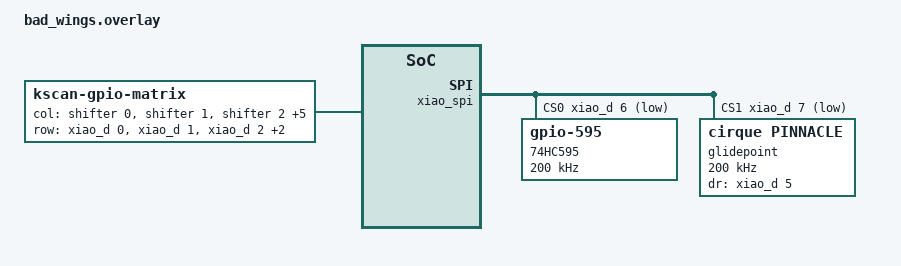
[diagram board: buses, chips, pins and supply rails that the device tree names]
#include "bad_wings.dtsi"

&xiao_serial { status = "disabled"; };

&xiao_spi {
    status = "okay";
    cs-gpios = <&xiao_d 6 GPIO_ACTIVE_LOW>, <&xiao_d 7 GPIO_ACTIVE_LOW>;
    shifter: 595@0 {
        compatible = "zmk,gpio-595";
        status = "okay";
        gpio-controller;
        spi-max-frequency = <200000>;
        reg = <0>;
        label = "74HC595";
        #gpio-cells = <2>;
        ngpios = <8>;
    };

    glidepoint: glidepoint@1 {
        compatible = "cirque,pinnacle";
        spi-max-frequency = <200000>;
        reg = <1>;
        status = "okay";
        dr-gpios = <&xiao_d 5 (GPIO_ACTIVE_HIGH)>;

        sensitivity = "4x";
        sleep;
        no-taps;
        };
};

/ {
  glidepoint_listener {
    compatible = "zmk,input-listener";
    device = <&glidepoint>;

    xy-swap;
    y-invert;
    x-invert;
  };
};


/ {
    kscan0: kscan_0 {
        compatible = "zmk,kscan-gpio-matrix";
        label = "KSCAN";
        diode-direction = "col2row";
        wakeup-source;

        col-gpios
            = <&shifter 0 GPIO_ACTIVE_HIGH>
            , <&shifter 1 GPIO_ACTIVE_HIGH>
            , <&shifter 2 GPIO_ACTIVE_HIGH>
            , <&shifter 3 GPIO_ACTIVE_HIGH>
            , <&shifter 4 GPIO_ACTIVE_HIGH>
            , <&shifter 5 GPIO_ACTIVE_HIGH>
            , <&shifter 6 GPIO_ACTIVE_HIGH>
            , <&shifter 7 GPIO_ACTIVE_HIGH>
            ;

        row-gpios
            = <&xiao_d 0 (GPIO_ACTIVE_HIGH | GPIO_PULL_DOWN)>
            , <&xiao_d 1 (GPIO_ACTIVE_HIGH | GPIO_PULL_DOWN)>
            , <&xiao_d 2 (GPIO_ACTIVE_HIGH | GPIO_PULL_DOWN)>
            , <&xiao_d 3 (GPIO_ACTIVE_HIGH | GPIO_PULL_DOWN)>
            , <&xiao_d 4 (GPIO_ACTIVE_HIGH | GPIO_PULL_DOWN)>
            ;
    };
};
